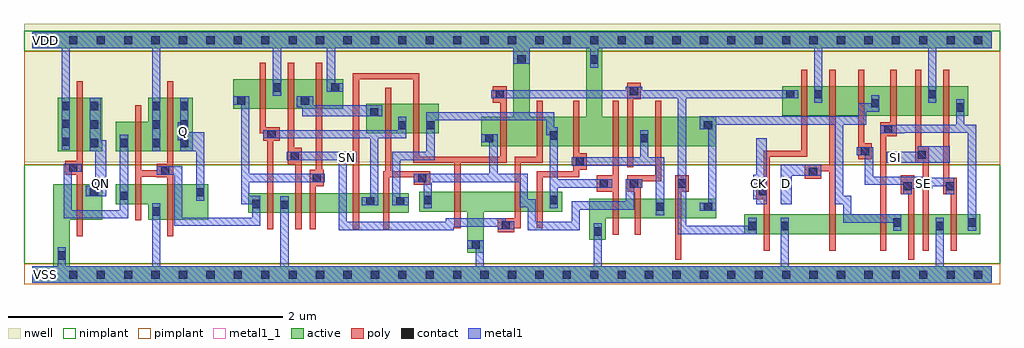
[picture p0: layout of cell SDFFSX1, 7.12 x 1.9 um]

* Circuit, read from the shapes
.subckt SDFFSX1 CK D Q QN SE SI SN VDD VSS
M1 QN n1 VSS VSS nfet w=0.26u l=0.045u
M2 VSS n2 n1 VSS nfet w=0.145u l=0.045u
M3 Q n2 VSS VSS nfet w=0.26u l=0.045u
M4 VSS n3 n2 VSS nfet w=0.145u l=0.045u
M5 n4 SN VSS VSS nfet w=0.145u l=0.045u
M6 n5 n2 n4 VSS nfet w=0.145u l=0.045u
M7 n3 n6 n5 VSS nfet w=0.145u l=0.045u
M8 n7 n8 n3 VSS nfet w=0.145u l=0.045u
M9 VSS n6 n8 VSS nfet w=0.145u l=0.045u
M10 n9 SN VSS VSS nfet w=0.145u l=0.045u
M11 n7 n10 n9 VSS nfet w=0.145u l=0.045u
M12 n11 n7 VSS VSS nfet w=0.145u l=0.045u
M13 n10 n8 n11 VSS nfet w=0.145u l=0.045u
M14 n12 n6 n10 VSS nfet w=0.145u l=0.045u
M15 VSS CK n6 VSS nfet w=0.145u l=0.045u
M16 n13 D VSS VSS nfet w=0.145u l=0.045u
M17 n12 n14 n13 VSS nfet w=0.145u l=0.045u
M18 n15 SE n12 VSS nfet w=0.145u l=0.045u
M19 VSS SI n15 VSS nfet w=0.145u l=0.045u
M20 n14 SE VSS VSS nfet w=0.145u l=0.045u
M21 QN n1 VDD VDD pfet w=0.39u l=0.045u
M22 VDD n2 n1 VDD pfet w=0.215u l=0.045u
M23 Q n2 VDD VDD pfet w=0.39u l=0.045u
M24 VDD n3 n2 VDD pfet w=0.215u l=0.045u
M25 n16 SN VDD VDD pfet w=0.215u l=0.045u
M26 VDD n2 n16 VDD pfet w=0.215u l=0.045u
M27 n3 n8 n16 VDD pfet w=0.215u l=0.045u
M28 n7 n6 n3 VDD pfet w=0.215u l=0.045u
M29 VDD n6 n8 VDD pfet w=0.215u l=0.045u
M30 n7 SN VDD VDD pfet w=0.215u l=0.045u
M31 VDD n10 n7 VDD pfet w=0.215u l=0.045u
M32 n17 n7 VDD VDD pfet w=0.215u l=0.045u
M33 n10 n6 n17 VDD pfet w=0.215u l=0.045u
M34 n12 n8 n10 VDD pfet w=0.215u l=0.045u
M35 VDD CK n6 VDD pfet w=0.215u l=0.045u
M36 n18 D VDD VDD pfet w=0.215u l=0.045u
M37 n12 SE n18 VDD pfet w=0.215u l=0.045u
M38 n19 n14 n12 VDD pfet w=0.215u l=0.045u
M39 VDD SI n19 VDD pfet w=0.215u l=0.045u
M40 n14 SE VDD VDD pfet w=0.215u l=0.045u
.ends

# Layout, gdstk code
import gdstk
lib = gdstk.Library(unit=1e-6, precision=5e-10)
def R(c, l, rs):  # rectangles x0, y0, x1, y1
    for r in rs: c.add(gdstk.rectangle(r[:2], r[2:], *l))
def A(c, l, x, y, w, h, nx, ny, dx, dy):  # array of equal rectangles
    R(c, l, [(x+i*dx, y+j*dy, x+i*dx+w, y+j*dy+h) for i in range(nx) for j in range(ny)])
def P(c, l, *ps):  # polygons
    for p in ps: c.add(gdstk.Polygon(p, *l))
active = (1, 0)
nwell = (2, 0)
poly = (3, 0)
nimplant = (4, 0)
pimplant = (5, 0)
contact = (6, 0)
metal1 = (7, 0)
metal1_1 = (7, 1)

sdffsx1 = lib.new_cell('SDFFSX1')
R(sdffsx1, active, [(5.195,0.295,6.915,0.44), (1.575,0.45,2.745,0.595), (0.185,0.9,0.51,1.29), (2.435,1.03,2.965,1.245), (5.47,1.16,6.83,1.375), (1.465,1.21,2.27,1.425)])
P(sdffsx1, active, [(0,1.77),(7,1.77),(7,1.65),(4.16,1.65),(4.16,1.15),(4.99,1.15),(4.99,0.935),(3.275,0.935),(3.275,1.15),(3.51,1.15),(3.51,1.65),(3.63,1.65),(3.63,1.15),(4.04,1.15),(4.04,1.65),(0,1.65)],
  [(0.845,1.29),(1.17,1.29),(1.17,0.9),(0.61,0.9),(0.61,1.115),(0.845,1.115)],
  [(0.155,0.66),(0.51,0.66),(0.51,0.4),(0.275,0.4),(0.275,0.06),(7,0.06),(7,-0.06),(0,-0.06),(0,0.06),(0.155,0.06)],
  [(0.61,0.66),(1.285,0.66),(1.285,0.4),(0.845,0.4),(0.845,0.515),(0.61,0.515)],
  [(2.825,0.605),(3.865,0.605),(3.865,0.46),(3.295,0.46),(3.295,0.16),(3.175,0.16),(3.175,0.46),(2.825,0.46)],
  [(4.065,0.555),(4.99,0.555),(4.99,0.41),(4.185,0.41),(4.185,0.255),(4.065,0.255)])
R(sdffsx1, nwell, [(-0.06,0.82,7.06,1.83)])
P(sdffsx1, poly, [(1.66,1.545),(1.705,1.545),(1.705,1.075),(1.805,1.075),(1.805,0.975),(1.76,0.975),(1.76,0.33),(1.715,0.33),(1.715,0.975),(1.685,0.975),(1.685,1.03),(1.66,1.03)],
  [(1.865,1.545),(1.91,1.545),(1.91,0.925),(1.965,0.925),(1.965,0.33),(1.92,0.33),(1.92,0.805),(1.865,0.805)],
  [(2.07,1.545),(2.115,1.545),(2.115,0.765),(2.125,0.765),(2.125,0.645),(2.07,0.645),(2.07,0.33),(2.025,0.33),(2.025,0.765),(2.07,0.765)],
  [(2.34,1.47),(2.825,1.47),(2.825,0.86),(3.415,0.86),(3.415,1.255),(3.36,1.255),(3.36,1.375),(3.46,1.375),(3.46,0.815),(3.125,0.815),(3.125,0.34),(3.08,0.34),(3.08,0.815),(2.78,0.815),(2.78,1.425),(2.385,1.425),(2.385,0.33),(2.34,0.33)],
  [(0.325,1.41),(0.37,1.41),(0.37,0.28),(0.325,0.28),(0.325,0.73),(0.24,0.73),(0.24,0.83),(0.325,0.83)],
  [(0.75,1.235),(0.795,1.235),(0.795,0.76),(0.91,0.76),(0.91,0.81),(0.985,0.81),(0.985,1.41),(1.03,1.41),(1.03,0.28),(0.985,0.28),(0.985,0.71),(0.91,0.71),(0.91,0.715),(0.795,0.715),(0.795,0.395),(0.75,0.395)],
  [(2.575,1.365),(2.62,1.365),(2.62,0.755),(2.905,0.755),(2.905,0.655),(2.785,0.655),(2.785,0.71),(2.605,0.71),(2.605,0.33),(2.56,0.33),(2.56,0.755),(2.575,0.755)],
  [(3.68,1.27),(3.725,1.27),(3.725,0.815),(3.565,0.815),(3.565,0.34),(3.515,0.34),(3.515,0.31),(3.395,0.31),(3.395,0.41),(3.52,0.41),(3.52,0.86),(3.68,0.86)],
  [(3.945,1.27),(3.99,1.27),(3.99,0.885),(4.045,0.885),(4.045,0.765),(3.99,0.765),(3.99,0.71),(3.725,0.71),(3.725,0.34),(3.68,0.34),(3.68,0.755),(3.945,0.755)],
  [(4.34,1.4),(4.44,1.4),(4.44,1.28),(4.385,1.28),(4.385,0.785),(4.34,0.785)],
  [(4.235,1.27),(4.28,1.27),(4.28,0.29),(4.235,0.29),(4.235,0.605),(4.12,0.605),(4.12,0.725),(4.235,0.725)],
  [(5.61,1.495),(5.655,1.495),(5.655,0.86),(5.38,0.86),(5.38,0.175),(5.335,0.175),(5.335,0.55),(5.28,0.55),(5.28,0.67),(5.335,0.67),(5.335,0.905),(5.61,0.905)],
  [(5.815,1.495),(5.86,1.495),(5.86,0.175),(5.815,0.175),(5.815,0.755),(5.755,0.755),(5.755,0.7),(5.635,0.7),(5.635,0.8),(5.815,0.8)],
  [(6.025,1.495),(6.07,1.495),(6.07,0.96),(6.125,0.96),(6.125,0.84),(6.025,0.84)],
  [(6.26,1.495),(6.305,1.495),(6.305,1.01),(6.23,1.01),(6.23,0.175),(6.185,0.175),(6.185,1.11),(6.26,1.11)],
  [(6.44,1.495),(6.485,1.495),(6.485,0.935),(6.54,0.935),(6.54,0.175),(6.495,0.175),(6.495,0.815),(6.44,0.815)],
  [(6.645,1.495),(6.69,1.495),(6.69,0.705),(6.745,0.705),(6.745,0.175),(6.7,0.175),(6.7,0.585),(6.645,0.585)],
  [(4.545,1.27),(4.59,1.27),(4.59,0.68),(4.44,0.68),(4.44,0.29),(4.395,0.29),(4.395,0.605),(4.34,0.605),(4.34,0.725),(4.545,0.725)],
  [(4.69,0.725),(4.79,0.725),(4.79,0.605),(4.735,0.605),(4.735,0.11),(4.69,0.11)],
  [(6.335,0.725),(6.435,0.725),(6.435,0.11),(6.39,0.11),(6.39,0.585),(6.335,0.585)])
R(sdffsx1, nimplant, [(-0.06,0.08,7.06,0.8), (-0.06,1.63,7.06,1.78)])
R(sdffsx1, pimplant, [(-0.06,-0.07,7.06,0.08), (-0.06,0.8,7.06,1.63)])
A(sdffsx1, contact, 0.07, -0.03, 0.06, 0.06, 35, 2, 0.2, 1.71)
A(sdffsx1, contact, 0.42, 0.93, 0.06, 0.06, 1, 3, 0, 0.135)
A(sdffsx1, contact, 0.875, 0.93, 0.06, 0.06, 1, 3, 0, 0.135)
A(sdffsx1, contact, 1.08, 0.93, 0.06, 0.06, 1, 3, 0, 0.135)
A(sdffsx1, contact, 0.215, 0.94, 0.06, 0.06, 1, 3, 0, 0.13)
R(sdffsx1, contact, [(0.185,0.11,0.245,0.17), (3.205,0.19,3.265,0.25), (4.095,0.285,4.155,0.345), (5.225,0.325,5.285,0.385), (5.46,0.325,5.52,0.385), (6.59,0.325,6.65,0.385), (3.425,0.33,3.485,0.39), (6.28,0.35,6.34,0.41), (6.825,0.35,6.885,0.41), (0.875,0.43,0.935,0.49), (4.55,0.465,4.61,0.525), (4.9,0.465,4.96,0.525), (1.81,0.48,1.87,0.54), (1.605,0.485,1.665,0.545), (2.435,0.505,2.495,0.565), (2.655,0.505,2.715,0.565), (2.855,0.515,2.915,0.575), (3.775,0.515,3.835,0.575), (0.64,0.545,0.7,0.605), (0.42,0.57,0.48,0.63), (1.195,0.57,1.255,0.63), (5.3,0.58,5.36,0.64), (6.355,0.615,6.415,0.675), (6.665,0.615,6.725,0.675), (4.14,0.635,4.2,0.695), (4.36,0.635,4.42,0.695), (4.71,0.635,4.77,0.695), (2.045,0.675,2.105,0.735), (2.815,0.675,2.875,0.735), (5.665,0.72,5.725,0.78), (0.94,0.73,1,0.79), (0.27,0.75,0.33,0.81), (3.965,0.795,4.025,0.855), (1.885,0.835,1.945,0.895), (6.46,0.845,6.52,0.905), (6.045,0.87,6.105,0.93), (0.64,0.93,0.7,0.99), (3.305,0.965,3.365,1.025), (4.435,0.965,4.495,1.025), (3.775,0.985,3.835,1.045), (1.715,0.995,1.775,1.055), (6.215,1.03,6.275,1.09), (2.67,1.06,2.73,1.12), (2.875,1.06,2.935,1.12), (4.9,1.06,4.96,1.12), (2.465,1.155,2.525,1.215), (6.74,1.19,6.8,1.25), (6.12,1.22,6.18,1.28), (1.495,1.24,1.555,1.3), (1.96,1.24,2.02,1.3), (3.38,1.285,3.44,1.345), (5.5,1.285,5.56,1.345), (5.705,1.285,5.765,1.345), (6.535,1.285,6.595,1.345), (4.36,1.31,4.42,1.37), (1.755,1.335,1.815,1.395), (2.18,1.335,2.24,1.395), (3.54,1.54,3.6,1.6), (4.07,1.54,4.13,1.6)])
P(sdffsx1, metal1, [(0,1.77),(7,1.77),(7,1.65),(6.595,1.65),(6.595,1.255),(6.535,1.255),(6.535,1.65),(5.765,1.65),(5.765,1.255),(5.705,1.255),(5.705,1.65),(4.13,1.65),(4.13,1.51),(4.07,1.51),(4.07,1.65),(3.63,1.65),(3.63,1.54),(3.51,1.54),(3.51,1.65),(2.21,1.65),(2.21,1.395),(2.27,1.395),(2.27,1.335),(2.15,1.335),(2.15,1.65),(1.815,1.65),(1.815,1.305),(1.755,1.305),(1.755,1.65),(0.935,1.65),(0.935,0.9),(0.875,0.9),(0.875,1.65),(0.275,1.65),(0.275,0.91),(0.215,0.91),(0.215,1.65),(0,1.65)],
  [(0.42,1.29),(0.5,1.29),(0.5,0.98),(0.54,0.98),(0.54,0.57),(0.39,0.57),(0.39,0.65),(0.46,0.65),(0.46,0.9),(0.42,0.9)],
  [(4.33,1.37),(4.45,1.37),(4.45,1.345),(5.59,1.345),(5.59,1.285),(4.77,1.285),(4.77,0.355),(5.225,0.355),(5.225,0.415),(5.285,0.415),(5.285,0.295),(4.71,0.295),(4.71,1.285),(3.35,1.285),(3.35,1.345),(4.33,1.345)],
  [(0.23,0.81),(0.36,0.81),(0.36,0.75),(0.29,0.75),(0.29,0.47),(0.64,0.47),(0.64,1.02),(0.7,1.02),(0.7,0.41),(0.23,0.41)],
  [(1.08,1.29),(1.14,1.29),(1.14,1.04),(1.255,1.04),(1.255,0.54),(1.195,0.54),(1.195,0.9),(1.08,0.9),(1.08,0.98),(1.06,0.98),(1.06,1.11),(1.08,1.11)],
  [(1.465,1.3),(1.585,1.3),(1.585,0.735),(2.135,0.735),(2.135,0.675),(1.585,0.675),(1.585,0.575),(1.665,0.575),(1.665,0.355),(1.035,0.355),(1.035,0.73),(0.91,0.73),(0.91,0.79),(1.095,0.79),(1.095,0.415),(1.605,0.415),(1.605,0.515),(1.525,0.515),(1.525,1.24),(1.465,1.24)],
  [(1.93,1.3),(2.05,1.3),(2.05,1.235),(2.555,1.235),(2.555,1.155),(1.97,1.155),(1.97,1.22),(1.93,1.22)],
  [(0.185,0.2),(0.245,0.2),(0.245,0.06),(0.875,0.06),(0.875,0.52),(0.935,0.52),(0.935,0.06),(1.81,0.06),(1.81,0.57),(1.87,0.57),(1.87,0.06),(3.235,0.06),(3.235,0.19),(3.175,0.19),(3.175,0.25),(3.295,0.25),(3.295,0.06),(4.095,0.06),(4.095,0.375),(4.155,0.375),(4.155,0.06),(5.46,0.06),(5.46,0.415),(5.52,0.415),(5.52,0.06),(6.59,0.06),(6.59,0.415),(6.65,0.415),(6.65,0.06),(7,0.06),(7,-0.06),(0,-0.06),(0,0.06),(0.185,0.06)],
  [(2.67,1.15),(2.73,1.15),(2.73,0.995),(2.525,0.995),(2.525,0.505),(2.405,0.505),(2.405,0.565),(2.465,0.565),(2.465,0.995),(1.685,0.995),(1.685,1.055),(2.67,1.055)],
  [(2.875,1.185),(3.81,1.185),(3.81,1.075),(3.835,1.075),(3.835,0.695),(4.23,0.695),(4.23,0.635),(3.835,0.635),(3.835,0.485),(3.775,0.485),(3.775,1.015),(3.75,1.015),(3.75,1.125),(2.935,1.125),(2.935,0.835),(2.685,0.835),(2.685,0.565),(2.745,0.565),(2.745,0.505),(2.625,0.505),(2.625,0.895),(2.875,0.895)],
  [(6.12,1.31),(6.18,1.31),(6.18,1.19),(6.085,1.19),(6.085,1.095),(5.915,1.095),(5.915,0.575),(5.975,0.575),(5.975,0.44),(6.34,0.44),(6.34,0.32),(6.28,0.32),(6.28,0.38),(5.915,0.38),(5.915,0.515),(5.855,0.515),(5.855,1.095),(4.99,1.095),(4.99,0.465),(4.87,0.465),(4.87,0.525),(4.93,0.525),(4.93,1.06),(4.87,1.06),(4.87,1.155),(6.025,1.155),(6.025,1.25),(6.12,1.25)],
  [(1.855,0.895),(2.365,0.895),(2.365,0.815),(2.295,0.815),(2.295,0.385),(3.015,0.385),(3.015,0.41),(3.455,0.41),(3.455,0.39),(3.515,0.39),(3.515,0.33),(3.395,0.33),(3.395,0.35),(3.075,0.35),(3.075,0.325),(2.235,0.325),(2.235,0.835),(1.855,0.835)],
  [(3.275,1.025),(3.395,1.025),(3.395,0.735),(3.615,0.735),(3.615,0.55),(3.675,0.55),(3.675,0.385),(3.935,0.385),(3.935,0.535),(4.33,0.535),(4.33,0.695),(4.45,0.695),(4.45,0.635),(4.39,0.635),(4.39,0.475),(3.995,0.475),(3.995,0.325),(3.615,0.325),(3.615,0.49),(3.555,0.49),(3.555,0.675),(2.915,0.675),(2.915,0.485),(2.855,0.485),(2.855,0.675),(2.785,0.675),(2.785,0.735),(3.335,0.735),(3.335,0.965),(3.275,0.965)],
  [(4.435,1.055),(4.495,1.055),(4.495,0.855),(4.61,0.855),(4.61,0.435),(4.55,0.435),(4.55,0.795),(3.935,0.795),(3.935,0.855),(4.435,0.855)],
  [(6.74,1.28),(6.8,1.28),(6.8,1.095),(6.885,1.095),(6.885,0.32),(6.825,0.32),(6.825,1.035),(6.36,1.035),(6.36,1.03),(6.185,1.03),(6.185,1.09),(6.3,1.09),(6.3,1.095),(6.74,1.095)],
  [(5.28,0.995),(5.36,0.995),(5.36,0.515),(5.28,0.515),(5.28,0.55),(5.26,0.55),(5.26,0.73),(5.28,0.73)],
  [(5.46,0.8),(5.755,0.8),(5.755,0.72),(5.54,0.72),(5.54,0.515),(5.46,0.515)],
  [(6.46,0.935),(6.695,0.935),(6.695,0.815),(6.235,0.815),(6.235,0.895),(6.46,0.895)],
  [(6.015,0.93),(6.135,0.93),(6.135,0.715),(6.495,0.715),(6.495,0.705),(6.725,0.705),(6.725,0.585),(6.665,0.585),(6.665,0.645),(6.565,0.645),(6.565,0.625),(6.415,0.625),(6.415,0.585),(6.355,0.585),(6.355,0.655),(6.075,0.655),(6.075,0.87),(6.015,0.87)])
R(sdffsx1, metal1_1, [(0.06,-0.04,0.14,0.04), (0.46,0.625,0.54,0.705), (5.26,0.625,5.34,0.705), (5.46,0.625,5.54,0.705), (6.46,0.625,6.54,0.705), (2.26,0.815,2.34,0.895), (6.26,0.815,6.34,0.895), (1.06,1.005,1.14,1.085), (0.06,1.67,0.14,1.75)])
sdffsx1.add(gdstk.Label('Q', (1.1,1.045), layer=7, texttype=1))
sdffsx1.add(gdstk.Label('QN', (0.5,0.665), layer=7, texttype=1))
sdffsx1.add(gdstk.Label('SE', (6.5,0.665), layer=7, texttype=1))
sdffsx1.add(gdstk.Label('SI', (6.3,0.855), layer=7, texttype=1))
sdffsx1.add(gdstk.Label('D', (5.5,0.665), layer=7, texttype=1))
sdffsx1.add(gdstk.Label('CK', (5.3,0.665), layer=7, texttype=1))
sdffsx1.add(gdstk.Label('SN', (2.3,0.855), layer=7, texttype=1))
sdffsx1.add(gdstk.Label('VDD', (0.1,1.71), layer=7, texttype=1))
sdffsx1.add(gdstk.Label('VSS', (0.1,0), layer=7, texttype=1))
sdffsx1.add(gdstk.Label('SDFFSX1', (0,0), layer=63, texttype=0))

lib.write_gds('SDFFSX1.gds')
